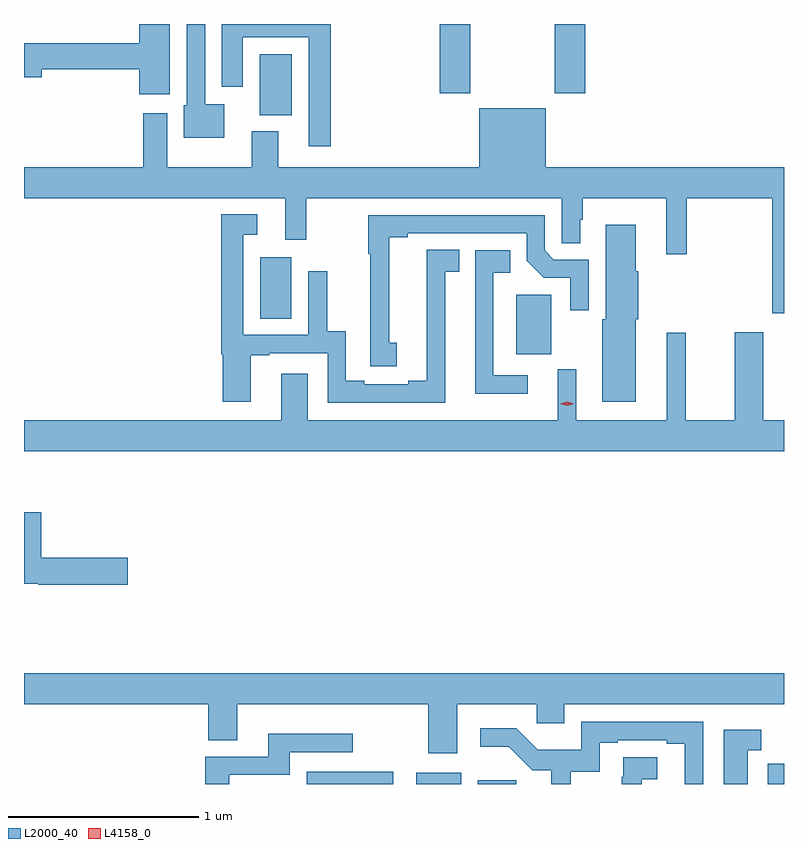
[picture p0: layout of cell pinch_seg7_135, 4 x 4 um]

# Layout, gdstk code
import gdstk
lib = gdstk.Library(unit=1e-6, precision=1e-09)
def R(c, l, rs):  # rectangles x0, y0, x1, y1
    for r in rs: c.add(gdstk.rectangle(r[:2], r[2:], *l))
def P(c, l, *ps):  # polygons
    for p in ps: c.add(gdstk.Polygon(p, *l))
L2000_40 = (2000, 40)
L4158_0 = (4158, 0)

pinch_seg7_135 = lib.new_cell('pinch_seg7_135')
R(pinch_seg7_135, L2000_40, [(1072.658,1016.181,1073.112,1016.245), (1073.234,1016.181,1073.47,1016.239), (1073.558,1016.181,1073.761,1016.2), (1075.084,1016.181,1075.169,1016.287), (1073.759,1018.442,1073.944,1018.756), (1072.412,1018.63,1072.576,1018.954), (1072.409,1019.702,1072.579,1020.022), (1073.357,1019.817,1073.517,1020.181), (1073.962,1019.817,1074.122,1020.181)])
P(pinch_seg7_135, L2000_40, [(1072.222,1019.758),(1072.122,1019.758),(1072.122,1020.181),(1072.026,1020.181),(1072.026,1019.754),(1072.01,1019.754),(1072.01,1019.582),(1072.222,1019.582)],
  [(1072.784,1020.181),(1072.211,1020.181),(1072.211,1019.85),(1072.321,1019.85),(1072.321,1020.111),(1072.668,1020.111),(1072.668,1019.538),(1072.784,1019.538)],
  [(1071.937,1020.181),(1071.776,1020.181),(1071.776,1020.08),(1071.169,1020.08),(1071.169,1019.902),(1071.262,1019.902),(1071.262,1019.944),(1071.776,1019.944),(1071.776,1019.811),(1071.937,1019.811)],
  [(1073.564,1019.737),(1073.564,1019.428),(1072.507,1019.428),(1072.507,1019.617),(1072.367,1019.617),(1072.367,1019.428),(1071.922,1019.428),(1071.922,1019.71),(1071.797,1019.71),(1071.797,1019.428),(1071.169,1019.428),(1071.169,1019.264),(1072.544,1019.264),(1072.544,1019.046),(1072.654,1019.046),(1072.654,1019.264),(1074,1019.264),(1074,1019.026),(1074.097,1019.026),(1074.097,1019.151),(1074.109,1019.151),(1074.109,1019.264),(1074.548,1019.264),(1074.548,1018.968),(1074.658,1018.968),(1074.658,1019.264),(1075.106,1019.264),(1075.106,1018.658),(1075.169,1018.658),(1075.169,1019.428),(1073.914,1019.428),(1073.914,1019.737)],
  [(1073.386,1018.876),(1073.459,1018.876),(1073.459,1018.994),(1073.288,1018.994),(1073.288,1018.304),(1073.192,1018.304),(1073.192,1018.284),(1072.96,1018.284),(1072.96,1018.304),(1072.863,1018.304),(1072.863,1018.565),(1072.764,1018.565),(1072.764,1018.879),(1072.665,1018.879),(1072.665,1018.545),(1072.323,1018.545),(1072.323,1019.073),(1072.396,1019.073),(1072.396,1019.179),(1072.207,1019.179),(1072.207,1018.442),(1072.214,1018.442),(1072.214,1018.194),(1072.363,1018.194),(1072.363,1018.437),(1072.459,1018.437),(1072.459,1018.449),(1072.767,1018.449),(1072.767,1018.188),(1073.386,1018.188)],
  [(1073.131,1018.504),(1073.092,1018.504),(1073.092,1019.059),(1073.188,1019.059),(1073.188,1019.079),(1073.814,1019.079),(1073.814,1018.935),(1073.904,1018.845),(1074.045,1018.845),(1074.045,1018.674),(1074.141,1018.674),(1074.141,1018.941),(1073.958,1018.941),(1073.91,1018.989),(1073.91,1019.175),(1072.981,1019.175),(1072.981,1018.972),(1072.991,1018.972),(1072.991,1018.38),(1073.131,1018.38)],
  [(1074.388,1018.626),(1074.401,1018.626),(1074.401,1018.88),(1074.388,1018.88),(1074.388,1019.125),(1074.23,1019.125),(1074.23,1018.626),(1074.212,1018.626),(1074.212,1018.194),(1074.388,1018.194)],
  [(1073.821,1018.332),(1073.64,1018.332),(1073.64,1018.873),(1073.729,1018.873),(1073.729,1018.989),(1073.544,1018.989),(1073.544,1018.786),(1073.543,1018.786),(1073.543,1018.235),(1073.821,1018.235)],
  [(1075.169,1018.096),(1075.059,1018.096),(1075.059,1018.558),(1074.911,1018.558),(1074.911,1018.096),(1074.653,1018.096),(1074.653,1018.555),(1074.551,1018.555),(1074.551,1018.096),(1074.076,1018.096),(1074.076,1018.363),(1073.978,1018.363),(1073.978,1018.096),(1072.663,1018.096),(1072.663,1018.339),(1072.523,1018.339),(1072.523,1018.096),(1071.169,1018.096),(1071.169,1017.932),(1075.169,1017.932)],
  [(1071.715,1017.371),(1071.26,1017.371),(1071.26,1017.61),(1071.169,1017.61),(1071.169,1017.236),(1071.243,1017.236),(1071.243,1017.229),(1071.715,1017.229)],
  [(1073.449,1016.6),(1073.867,1016.6),(1073.867,1016.502),(1074.013,1016.502),(1074.013,1016.6),(1075.169,1016.6),(1075.169,1016.764),(1071.169,1016.764),(1071.169,1016.6),(1072.139,1016.6),(1072.139,1016.41),(1072.291,1016.41),(1072.291,1016.6),(1073.297,1016.6),(1073.297,1016.343),(1073.449,1016.343)],
  [(1074.047,1016.245),(1074.198,1016.245),(1074.198,1016.398),(1074.295,1016.398),(1074.295,1016.412),(1074.551,1016.412),(1074.551,1016.392),(1074.647,1016.392),(1074.647,1016.181),(1074.744,1016.181),(1074.744,1016.508),(1074.102,1016.508),(1074.102,1016.362),(1073.873,1016.362),(1073.76,1016.475),(1073.571,1016.475),(1073.571,1016.378),(1073.719,1016.378),(1073.845,1016.253),(1073.945,1016.253),(1073.945,1016.181),(1074.047,1016.181)],
  [(1074.979,1016.359),(1075.048,1016.359),(1075.048,1016.467),(1074.851,1016.467),(1074.851,1016.181),(1074.979,1016.181)],
  [(1072.249,1016.229),(1072.567,1016.229),(1072.567,1016.349),(1072.9,1016.349),(1072.9,1016.446),(1072.454,1016.446),(1072.454,1016.325),(1072.124,1016.325),(1072.124,1016.181),(1072.249,1016.181)],
  [(1074.42,1016.206),(1074.502,1016.206),(1074.502,1016.321),(1074.322,1016.321),(1074.322,1016.219),(1074.316,1016.219),(1074.316,1016.181),(1074.42,1016.181)])
P(pinch_seg7_135, L4158_0, [(1074.027,1018.172),(1073.992,1018.182),(1073.992,1018.182),(1073.992,1018.182),(1074.027,1018.192),(1074.062,1018.182),(1074.062,1018.182),(1074.062,1018.182)])

lib.write_gds('pinch_seg7_135.gds')
